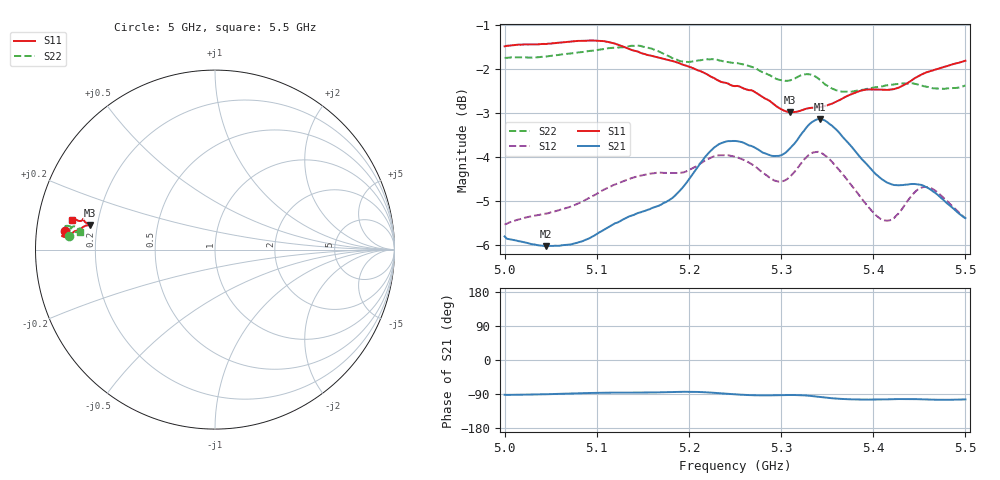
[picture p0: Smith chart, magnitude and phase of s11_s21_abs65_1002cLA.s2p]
! MS46122B
! 1919307/90821646
! 5/25/2022 1:47:09 PM
! C:\USERS\PC_\DESKTOP\CARACTERIZACION\MEDICIONES\BANCHA ESTRECHA\5_55GHZ\S11_S21_ABS65_1002CL.S2P
! CHANNEL.1
! TR.MEASUREMENT
! CORRECTED.DATA
# GHZ S RI R 50.0
! FREQ.GHZ  S11RE  S11IM  S21RE  S21IM  S12RE  S12IM  S22RE  S22IM
!; PortSelection: Port_12
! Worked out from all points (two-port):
!   201 points, 5 GHz to 5.5 GHz, reference 50 ohm
!   highest |S21| = -3.14 dB at 5.343 GHz (marker M1); lowest = -6.0 dB at 5.045 GHz (marker M2)
!   |S21| within 3 dB of the highest: start of sweep to end of sweep
!   lowest |S11| = -3.0 dB at 5.31 GHz (marker M3), VSWR 5.88, Z = 8.58 + j4.64 ohm
!   |S11| at or under -10 dB: nowhere
!   |S22| runs from -2.5 to -1.5 dB; largest |S21 - S12| = 0.077
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5  -0.8364 0.1035  -0.0155 -0.5121  0.034 -0.5274  -0.8138 0.0783
5.045  -0.8435 0.0858  -0.00276 -0.4994  0.0354 -0.5426  -0.8168 0.0785
5.085  -0.8516 0.0761  0.0223 -0.5056  0.039 -0.5602  -0.825 0.0951
5.1425  -0.8296 0.0685  0.038 -0.5421  0.0168 -0.5987  -0.8343 0.1294
5.1675  -0.8148 0.0716  0.045 -0.5534  0.00313 -0.6054  -0.8208 0.1323
5.19  -0.8014 0.0859  0.0596 -0.5741  -0.00278 -0.6051  -0.8013 0.1248
5.2125  -0.7832 0.1015  0.059 -0.6181  -0.00682 -0.6199  -0.805 0.1109
5.2325  -0.7628 0.1048  0.028 -0.6517  -0.029 -0.6328  -0.8038 0.1176
5.25  -0.7517 0.1079  -0.00741 -0.6577  -0.053 -0.6289  -0.7969 0.1242
5.28  -0.7264 0.1303  -0.0381 -0.637  -0.0733 -0.6012  -0.7769 0.1287
5.31  -0.6965 0.1344  -0.0267 -0.6452  -0.0479 -0.5974  -0.7645 0.1005
5.3225  -0.7 0.1349  -0.0356 -0.6699  -0.0517 -0.6194  -0.7758 0.0974
5.335  -0.7035 0.1414  -0.066 -0.6895  -0.0776 -0.6337  -0.7732 0.1084
5.3425  -0.7042 0.1437  -0.0921 -0.6906  -0.0967 -0.6312  -0.7633 0.1112
5.3575  -0.7122 0.1464  -0.134 -0.668  -0.123 -0.6067  -0.746 0.1024
5.3775  -0.7273 0.1583  -0.1552 -0.6271  -0.1304 -0.5689  -0.743 0.0922
5.4025  -0.7329 0.1719  -0.1501 -0.5843  -0.1049 -0.5317  -0.7505 0.0994
5.4175  -0.7329 0.1694  -0.1397 -0.5717  -0.0773 -0.5287  -0.7541 0.1063
5.435  -0.7463 0.16  -0.131 -0.5718  -0.0573 -0.5551  -0.7559 0.1138
5.455  -0.7678 0.1633  -0.1409 -0.5675  -0.0794 -0.5777  -0.7498 0.1184
5.4775  -0.7811 0.1678  -0.1454 -0.5428  -0.1048 -0.5558  -0.7463 0.1069
5.5  -0.7941 0.1677  -0.1304 -0.5213  -0.0933 -0.529  -0.7544 0.0986
